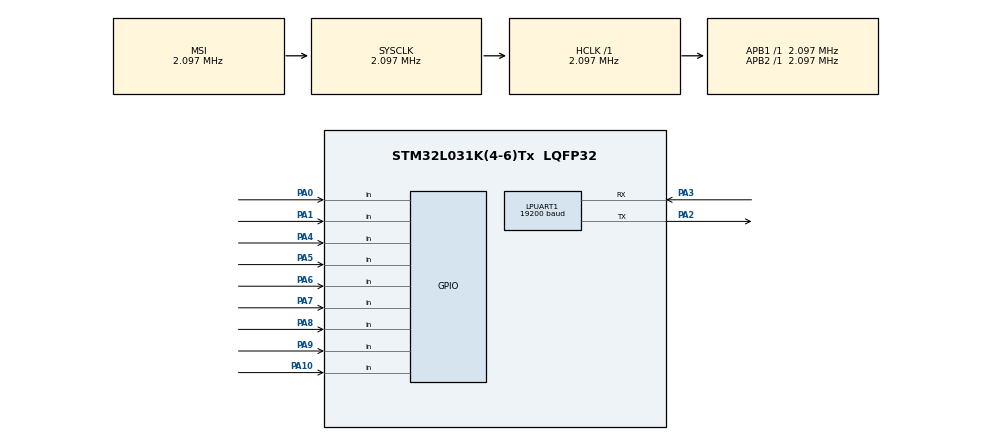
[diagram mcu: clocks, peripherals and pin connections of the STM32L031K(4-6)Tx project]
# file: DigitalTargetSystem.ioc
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LPUART1.BaudRate=19200
LPUART1.WordLength=UART_WORDLENGTH_8B
Mcu.Family=STM32L0
Mcu.Name=STM32L031K(4-6)Tx
Mcu.Package=LQFP32
PA0-CK_IN.Signal=GPIO_Input
PA1.Signal=GPIO_Input
PA10.Signal=GPIO_Input
PA13.Mode=Serial_Wire
PA13.Signal=SYS_SWDIO
PA14.Mode=Serial_Wire
PA14.Signal=SYS_SWCLK
PA2.Mode=Asynchronous
PA2.Signal=LPUART1_TX
PA3.Mode=Asynchronous
PA3.Signal=LPUART1_RX
PA4.Signal=GPIO_Input
PA5.Signal=GPIO_Input
PA6.Signal=GPIO_Input
PA7.Signal=GPIO_Input
PA8.Signal=GPIO_Input
PA9.Signal=GPIO_Input
ProjectManager.HeapSize=0x200
ProjectManager.StackSize=0x400
ProjectManager.TargetToolchain=STM32CubeIDE
RCC.AHBFreq_Value=2097000
RCC.APB1Freq_Value=2097000
RCC.APB1TimFreq_Value=2097000
RCC.APB2Freq_Value=2097000
RCC.APB2TimFreq_Value=2097000
RCC.HSE_VALUE=8000000
RCC.HSI16_VALUE=16000000
RCC.HSI_VALUE=16000000
RCC.LSE_VALUE=32768
RCC.MSI_VALUE=2097000
RCC.SYSCLKFreq_VALUE=2097000
RCC.VCOOutputFreq_Value=48000000
board=custom

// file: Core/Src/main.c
/* USER CODE BEGIN Header */
/**
  ******************************************************************************
  * @file           : main.c
  * @brief          : Main program body
  ******************************************************************************
  * @attention
  *
  * Copyright (c) 2023 STMicroelectronics.
  * All rights reserved.
  *
  * This software is licensed under terms that can be found in the LICENSE file
  * in the root directory of this software component.
  * If no LICENSE file comes with this software, it is provided AS-IS.
  *
  ******************************************************************************
  */
/* USER CODE END Header */
#include "main.h"

/* USER CODE BEGIN Includes */

#include <math.h>
/* USER CODE END Includes */

UART_HandleTypeDef hlpuart1;

void SystemClock_Config(void);
static void MX_GPIO_Init(void);
static void MX_LPUART1_UART_Init(void);

int main(void)
{

  /* MCU Configuration--------------------------------------------------------*/

  /* Reset of all peripherals, Initializes the Flash interface and the Systick. */
  HAL_Init();

  /* Configure the system clock */
  SystemClock_Config();

  /* Initialize all configured peripherals */
  MX_GPIO_Init();
  MX_LPUART1_UART_Init();
  /* USER CODE BEGIN 2 */
//  HAL_UART_Transmit(&huart1,msg1,sizeof(msg1),1000);
//  HAL_UART_Transmit(&huart1,msg2,sizeof(msg2),1000);
//  BSP_ENV_SENSOR_Init(0, ENV_FORCE);
//  BSP_ENV_SENSOR_Enable(0, ENV_FORCE);
//  HAL_UART_Transmit(&huart1,msg3,sizeof(msg3),1000);
  /* USER CODE END 2 */

  /* Infinite loop */
  while (1)
  {

    /* USER CODE BEGIN 3 */

//	  BSP_ENV_SENSOR_GetValue(0, ENV_FORCE, &force_value);
//	  int forceInt1 = force_value;
//	  float forceFrac = force_value - tmpInt1;
//	  int forceInt2 = trunc(tmpFrac * 100);
//	  snprintf(str_tmp,100," FORCE = %d.%02d\n", forceInt1, forceInt2);
//	  HAL_UART_Transmit(&huart1,( uint8_t *)str_tmp,sizeof(str_tmp),500);

	  if (HAL_GPIO_ReadPin(GPIOA, GPIO_PIN_0) != 0){

    /* USER CODE END WHILE */
		uint8_t Test[] = "Hit 3!!!\r\n"; //Data to send
		HAL_UART_Transmit(&hlpuart1,Test,sizeof(Test),10);// Sending in normal mode
		HAL_Delay(500);

    /* USER CODE BEGIN 3 */
	  }

	  if (HAL_GPIO_ReadPin(GPIOA, GPIO_PIN_1) != 0){

    /* USER CODE END WHILE */
		uint8_t Test[] = "Hit 2!!!\r\n"; //Data to send
		HAL_UART_Transmit(&hlpuart1,Test,sizeof(Test),10);// Sending in normal mode
		HAL_Delay(500);

    /* USER CODE BEGIN 3 */
	  }

	  if (HAL_GPIO_ReadPin(GPIOA, GPIO_PIN_4) != 0){

    /* USER CODE END WHILE */
		uint8_t Test[] = "Hit 1!!!\r\n"; //Data to send
		HAL_UART_Transmit(&hlpuart1,Test,sizeof(Test),10);// Sending in normal mode
		HAL_Delay(500);

    /* USER CODE BEGIN 3 */
	  }

	  if (HAL_GPIO_ReadPin(GPIOA, GPIO_PIN_5) != 0){

    /* USER CODE END WHILE */
		uint8_t Test[] = "Hit 6!!!\r\n"; //Data to send
		HAL_UART_Transmit(&hlpuart1,Test,sizeof(Test),10);// Sending in normal mode
		HAL_Delay(500);

    /* USER CODE BEGIN 3 */
	  }

	  if (HAL_GPIO_ReadPin(GPIOA, GPIO_PIN_6) != 0){

    /* USER CODE END WHILE */
		uint8_t Test[] = "Hit 9!!!\r\n"; //Data to send
		HAL_UART_Transmit(&hlpuart1,Test,sizeof(Test),10);// Sending in normal mode
		HAL_Delay(500);

    /* USER CODE BEGIN 3 */
	  }

	  if (HAL_GPIO_ReadPin(GPIOA, GPIO_PIN_7) != 0){

    /* USER CODE END WHILE */
		uint8_t Test[] = "Hit 8!!!\r\n"; //Data to send
		HAL_UART_Transmit(&hlpuart1,Test,sizeof(Test),10);// Sending in normal mode
		HAL_Delay(500);

    /* USER CODE BEGIN 3 */
	  }

	  if (HAL_GPIO_ReadPin(GPIOA, GPIO_PIN_8) != 0){

    /* USER CODE END WHILE */
		uint8_t Test[] = "Hit 4!!!\r\n"; //Data to send
		HAL_UART_Transmit(&hlpuart1,Test,sizeof(Test),10);// Sending in normal mode
		HAL_Delay(500);

    /* USER CODE BEGIN 3 */
	  }

	  if (HAL_GPIO_ReadPin(GPIOA, GPIO_PIN_9) != 0){

    /* USER CODE END WHILE */
		uint8_t Test[] = "Hit 5!!!\r\n"; //Data to send
		HAL_UART_Transmit(&hlpuart1,Test,sizeof(Test),10);// Sending in normal mode
		HAL_Delay(500);

    /* USER CODE BEGIN 3 */
	  }

	  if (HAL_GPIO_ReadPin(GPIOA, GPIO_PIN_10) != 0){

    /* USER CODE END WHILE */
		uint8_t Test[] = "Hit 7!!!\r\n"; //Data to send
		HAL_UART_Transmit(&hlpuart1,Test,sizeof(Test),10);// Sending in normal mode
		HAL_Delay(500);

    /* USER CODE BEGIN 3 */
	  }

  }

	  		//HAL_GPIO_TogglePin(GPIOB, GPIO_PIN_1);
  /* USER CODE END 3 */
}

void SystemClock_Config(void)
{
  RCC_OscInitTypeDef RCC_OscInitStruct = {0};
  RCC_ClkInitTypeDef RCC_ClkInitStruct = {0};
  RCC_PeriphCLKInitTypeDef PeriphClkInit = {0};

  /** Configure the main internal regulator output voltage
  */
  __HAL_PWR_VOLTAGESCALING_CONFIG(PWR_REGULATOR_VOLTAGE_SCALE1);

  /** Initializes the RCC Oscillators according to the specified parameters
  * in the RCC_OscInitTypeDef structure.
  */
  RCC_OscInitStruct.OscillatorType = RCC_OSCILLATORTYPE_MSI;
  RCC_OscInitStruct.MSIState = RCC_MSI_ON;
  RCC_OscInitStruct.MSICalibrationValue = 0;
  RCC_OscInitStruct.MSIClockRange = RCC_MSIRANGE_5;
  RCC_OscInitStruct.PLL.PLLState = RCC_PLL_NONE;
  if (HAL_RCC_OscConfig(&RCC_OscInitStruct) != HAL_OK)
  {
    Error_Handler();
  }

  /** Initializes the CPU, AHB and APB buses clocks
  */
  RCC_ClkInitStruct.ClockType = RCC_CLOCKTYPE_HCLK|RCC_CLOCKTYPE_SYSCLK
                              |RCC_CLOCKTYPE_PCLK1|RCC_CLOCKTYPE_PCLK2;
  RCC_ClkInitStruct.SYSCLKSource = RCC_SYSCLKSOURCE_MSI;
  RCC_ClkInitStruct.AHBCLKDivider = RCC_SYSCLK_DIV1;
  RCC_ClkInitStruct.APB1CLKDivider = RCC_HCLK_DIV1;
  RCC_ClkInitStruct.APB2CLKDivider = RCC_HCLK_DIV1;

  if (HAL_RCC_ClockConfig(&RCC_ClkInitStruct, FLASH_LATENCY_0) != HAL_OK)
  {
    Error_Handler();
  }
  PeriphClkInit.PeriphClockSelection = RCC_PERIPHCLK_LPUART1;
  PeriphClkInit.Lpuart1ClockSelection = RCC_LPUART1CLKSOURCE_PCLK1;
  if (HAL_RCCEx_PeriphCLKConfig(&PeriphClkInit) != HAL_OK)
  {
    Error_Handler();
  }
}

static void MX_LPUART1_UART_Init(void)
{

  hlpuart1.Instance = LPUART1;
  hlpuart1.Init.BaudRate = 19200;
  hlpuart1.Init.WordLength = UART_WORDLENGTH_8B;
  hlpuart1.Init.StopBits = UART_STOPBITS_1;
  hlpuart1.Init.Parity = UART_PARITY_NONE;
  hlpuart1.Init.Mode = UART_MODE_TX_RX;
  hlpuart1.Init.HwFlowCtl = UART_HWCONTROL_NONE;
  hlpuart1.Init.OneBitSampling = UART_ONE_BIT_SAMPLE_DISABLE;
  hlpuart1.AdvancedInit.AdvFeatureInit = UART_ADVFEATURE_NO_INIT;
  if (HAL_UART_Init(&hlpuart1) != HAL_OK)
  {
    Error_Handler();
  }

}

static void MX_GPIO_Init(void)
{
  GPIO_InitTypeDef GPIO_InitStruct = {0};

  /* GPIO Ports Clock Enable */
  __HAL_RCC_GPIOA_CLK_ENABLE();

  /*Configure GPIO pins : PA0 PA1 PA4 PA5
                           PA6 PA7 PA8 PA9
                           PA10 */
  GPIO_InitStruct.Pin = GPIO_PIN_0|GPIO_PIN_1|GPIO_PIN_4|GPIO_PIN_5
                          |GPIO_PIN_6|GPIO_PIN_7|GPIO_PIN_8|GPIO_PIN_9
                          |GPIO_PIN_10;
  GPIO_InitStruct.Mode = GPIO_MODE_INPUT;
  GPIO_InitStruct.Pull = GPIO_NOPULL;
  HAL_GPIO_Init(GPIOA, &GPIO_InitStruct);

}

void Error_Handler(void)
{
  __disable_irq();
  while (1)
  {
  }
}
